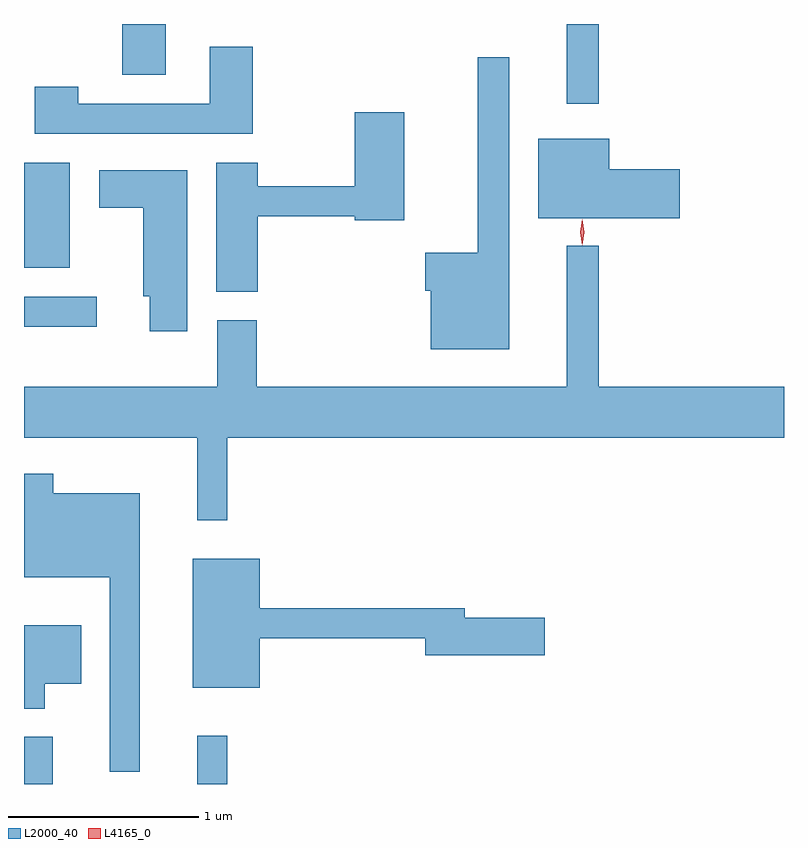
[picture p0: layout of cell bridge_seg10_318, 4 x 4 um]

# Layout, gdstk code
import gdstk
lib = gdstk.Library(unit=1e-6, precision=1e-09)
def R(c, l, rs):  # rectangles x0, y0, x1, y1
    for r in rs: c.add(gdstk.rectangle(r[:2], r[2:], *l))
def P(c, l, *ps):  # polygons
    for p in ps: c.add(gdstk.Polygon(p, *l))
L2000_40 = (2000, 40)
L4165_0 = (4165, 0)

bridge_seg10_318 = lib.new_cell('bridge_seg10_318')
R(bridge_seg10_318, L2000_40, [(1447.844,2152.054,1447.994,2152.303), (1448.756,2152.054,1448.914,2152.308), (1447.844,2154.461,1448.228,2154.619), (1447.844,2154.771,1448.084,2155.324), (1450.701,2155.633,1450.869,2156.054), (1448.361,2155.786,1448.589,2156.054)])
P(bridge_seg10_318, L2000_40, [(1449.049,2155.934),(1448.821,2155.934),(1448.821,2155.634),(1448.129,2155.634),(1448.129,2155.724),(1447.901,2155.724),(1447.901,2155.476),(1449.049,2155.476)],
  [(1450.399,2155.878),(1450.231,2155.878),(1450.231,2154.849),(1449.956,2154.849),(1449.956,2154.651),(1449.986,2154.651),(1449.986,2154.341),(1450.399,2154.341)],
  [(1449.074,2155.041),(1449.586,2155.041),(1449.586,2155.021),(1449.844,2155.021),(1449.844,2155.589),(1449.586,2155.589),(1449.586,2155.199),(1449.074,2155.199),(1449.074,2155.324),(1448.856,2155.324),(1448.856,2154.646),(1449.074,2154.646)],
  [(1451.294,2155.289),(1450.924,2155.289),(1450.924,2155.449),(1450.551,2155.449),(1450.551,2155.031),(1451.294,2155.031)],
  [(1448.704,2155.284),(1448.241,2155.284),(1448.241,2155.086),(1448.471,2155.086),(1448.471,2154.621),(1448.506,2154.621),(1448.506,2154.436),(1448.704,2154.436)],
  [(1448.914,2153.876),(1451.844,2153.876),(1451.844,2154.144),(1450.869,2154.144),(1450.869,2154.888),(1450.701,2154.888),(1450.701,2154.144),(1449.069,2154.144),(1449.069,2154.494),(1448.861,2154.494),(1448.861,2154.144),(1447.844,2154.144),(1447.844,2153.876),(1448.756,2153.876),(1448.756,2153.443),(1448.914,2153.443)],
  [(1448.454,2153.584),(1447.999,2153.584),(1447.999,2153.688),(1447.844,2153.688),(1447.844,2153.141),(1448.296,2153.141),(1448.296,2152.118),(1448.454,2152.118)],
  [(1449.084,2152.821),(1449.956,2152.821),(1449.956,2152.731),(1450.584,2152.731),(1450.584,2152.929),(1450.164,2152.929),(1450.164,2152.979),(1449.084,2152.979),(1449.084,2153.239),(1448.731,2153.239),(1448.731,2152.561),(1449.084,2152.561)],
  [(1447.954,2152.581),(1448.144,2152.581),(1448.144,2152.889),(1447.844,2152.889),(1447.844,2152.451),(1447.954,2152.451)])
P(bridge_seg10_318, L4165_0, [(1450.782,2154.89),(1450.782,2154.89),(1450.772,2154.958),(1450.781,2155.026),(1450.781,2155.026),(1450.782,2155.026),(1450.792,2154.958),(1450.783,2154.89)],
  [(1450.782,2154.893),(1450.782,2154.894),(1450.772,2154.956),(1450.782,2155.019),(1450.782,2155.02),(1450.782,2155.019),(1450.792,2154.956),(1450.783,2154.894)])

lib.write_gds('bridge_seg10_318.gds')
